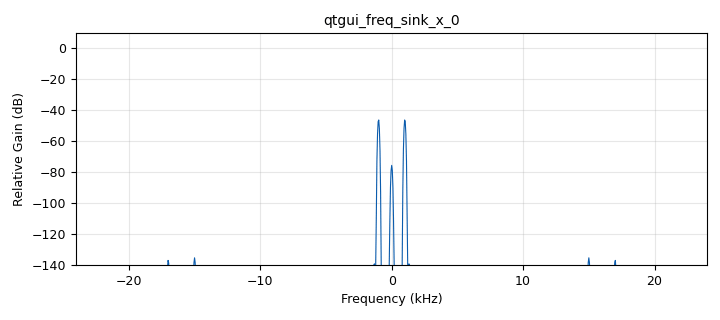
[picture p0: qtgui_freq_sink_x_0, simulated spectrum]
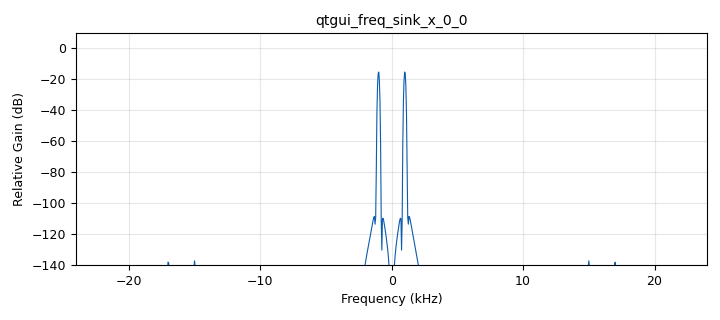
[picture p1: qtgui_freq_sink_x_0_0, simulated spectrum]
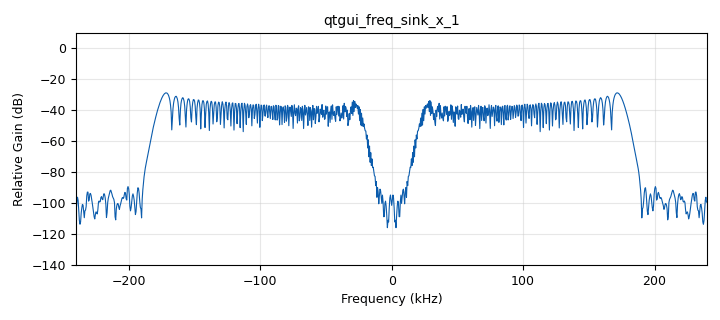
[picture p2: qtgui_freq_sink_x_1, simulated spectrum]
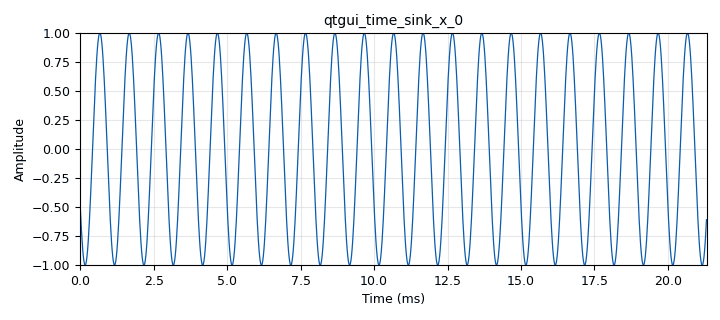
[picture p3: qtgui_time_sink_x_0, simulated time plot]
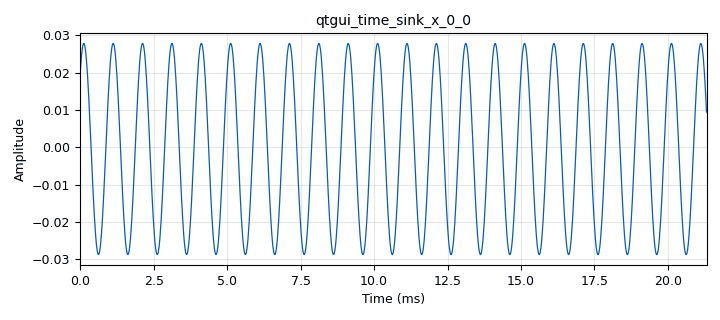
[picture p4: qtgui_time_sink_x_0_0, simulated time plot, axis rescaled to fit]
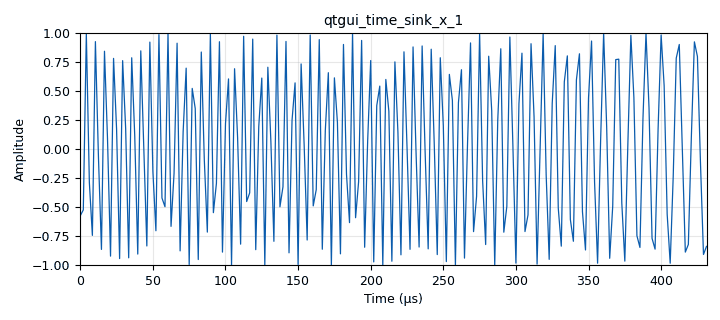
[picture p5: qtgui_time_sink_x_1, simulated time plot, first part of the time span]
options:
  parameters:
    generate_options: qt_gui
    id: freqmod
    output_language: python
    title: Not titled yet
  states: {}

blocks:
- name: quad_rate
  id: variable
  parameters:
    value: int(480e3)
  states: {}
- name: samp_rate
  id: variable
  parameters:
    value: '48000'
  states: {}
- name: analog_phase_modulator_fc_0
  id: analog_phase_modulator_fc
  parameters:
    sensitivity: 2*3.14*75000
  states: {}
- name: analog_sig_source_x_0
  id: analog_sig_source_x
  parameters:
    amp: '1'
    freq: '1000'
    offset: '0'
    phase: '0'
    samp_rate: samp_rate
    type: float
    waveform: analog.GR_COS_WAVE
  states: {}
- name: analog_sig_source_x_1
  id: analog_sig_source_x
  parameters:
    amp: '1'
    freq: 100e3
    offset: '0'
    phase: '0'
    samp_rate: quad_rate
    type: complex
    waveform: analog.GR_COS_WAVE
  states: {}
- name: blocks_complex_to_arg_0
  id: blocks_complex_to_arg
  parameters: {}
  states: {}
- name: blocks_complex_to_real_0
  id: blocks_complex_to_real
  parameters: {}
  states: {}
- name: blocks_conjugate_cc_0
  id: blocks_conjugate_cc
  parameters: {}
  states: {}
- name: blocks_delay_0
  id: blocks_delay
  parameters:
    delay: '1'
    type: complex
  states: {}
- name: blocks_multiply_xx_0
  id: blocks_multiply_xx
  parameters:
    type: complex
  states: {}
- name: blocks_multiply_xx_1
  id: blocks_multiply_xx
  parameters:
    type: complex
  states: {}
- name: dc_blocker_xx_0
  id: dc_blocker_xx
  parameters:
    length: '32'
    long_form: 'True'
    type: ff
  states: {}
- name: iir_filter_xxx_0
  id: iir_filter_xxx
  parameters:
    fbtaps: '[1,1]'
    fftaps: '[1/samp_rate]'
    type: ffd
  states: {}
- name: qtgui_freq_sink_x_0
  id: qtgui_freq_sink_x
  parameters:
    bw: samp_rate
    fc: '0'
    fftsize: '1024'
    type: float
  states: {}
- name: qtgui_freq_sink_x_0_0
  id: qtgui_freq_sink_x
  parameters:
    bw: samp_rate
    fc: '0'
    fftsize: '1024'
    type: float
  states: {}
- name: qtgui_freq_sink_x_1
  id: qtgui_freq_sink_x
  parameters:
    bw: quad_rate
    fc: '0'
    fftsize: '1024'
    type: float
  states: {}
- name: qtgui_time_sink_x_0
  id: qtgui_time_sink_x
  parameters:
    size: '1024'
    srate: samp_rate
    type: float
  states: {}
- name: qtgui_time_sink_x_0_0
  id: qtgui_time_sink_x
  parameters:
    size: '1024'
    srate: samp_rate
    type: float
  states: {}
- name: qtgui_time_sink_x_1
  id: qtgui_time_sink_x
  parameters:
    size: '1024'
    srate: quad_rate
    type: float
  states: {}
- name: rational_resampler_xxx_0
  id: rational_resampler_xxx
  parameters:
    decim: samp_rate
    interp: quad_rate
    type: fff
  states: {}
- name: rational_resampler_xxx_1
  id: rational_resampler_xxx
  parameters:
    decim: quad_rate
    interp: samp_rate
    type: fff
  states: {}

connections:
- [analog_phase_modulator_fc_0, '0', blocks_multiply_xx_0, '0']
- [analog_sig_source_x_0, '0', iir_filter_xxx_0, '0']
- [analog_sig_source_x_0, '0', qtgui_freq_sink_x_0_0, '0']
- [analog_sig_source_x_0, '0', qtgui_time_sink_x_0, '0']
- [analog_sig_source_x_1, '0', blocks_multiply_xx_0, '1']
- [blocks_complex_to_arg_0, '0', dc_blocker_xx_0, '0']
- [blocks_complex_to_real_0, '0', qtgui_freq_sink_x_1, '0']
- [blocks_complex_to_real_0, '0', qtgui_time_sink_x_1, '0']
- [blocks_conjugate_cc_0, '0', blocks_multiply_xx_1, '1']
- [blocks_delay_0, '0', blocks_conjugate_cc_0, '0']
- [blocks_multiply_xx_0, '0', blocks_complex_to_real_0, '0']
- [blocks_multiply_xx_0, '0', blocks_delay_0, '0']
- [blocks_multiply_xx_0, '0', blocks_multiply_xx_1, '0']
- [blocks_multiply_xx_1, '0', blocks_complex_to_arg_0, '0']
- [dc_blocker_xx_0, '0', rational_resampler_xxx_1, '0']
- [iir_filter_xxx_0, '0', rational_resampler_xxx_0, '0']
- [rational_resampler_xxx_0, '0', analog_phase_modulator_fc_0, '0']
- [rational_resampler_xxx_1, '0', qtgui_freq_sink_x_0, '0']
- [rational_resampler_xxx_1, '0', qtgui_time_sink_x_0_0, '0']

metadata:
  file_format: 1
